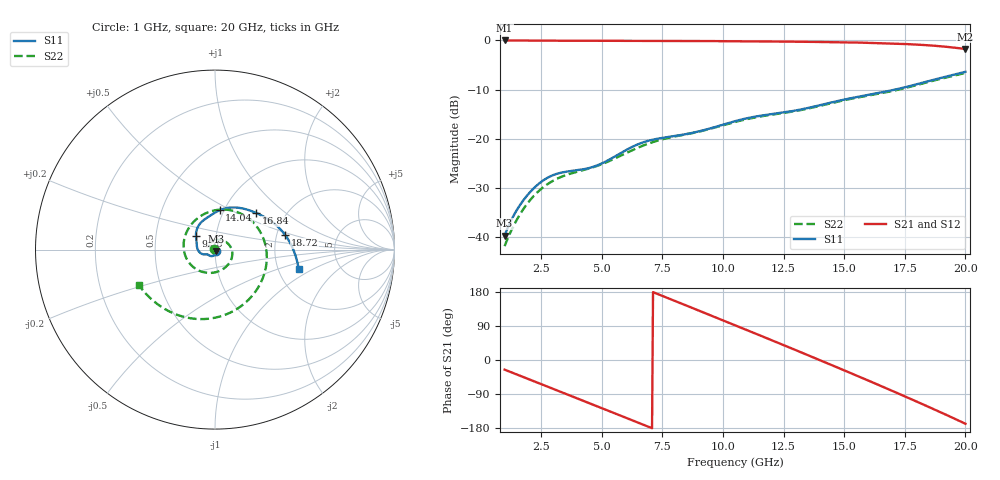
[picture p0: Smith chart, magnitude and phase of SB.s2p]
! Touchstone file from project TestMultiLine
! Exported from HFSS 14.0.0
! Variables:
!  gap = 0mm
!  hair = 35mm
!  hsub = 0.762mm
!  l = 28mm
!  lair = 40mm
!  lmic = 14mm
!  w = 25mm
!  wair = 40mm
!  wmic = 2.1mm
!Data is not renormalized
# GHZ S MA
! Modal data exported
! Port[1] = 1:1
! Port[2] = 2:1
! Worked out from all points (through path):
!   476 points, 1 GHz to 20 GHz, reference per port
!   highest |S21| = -0.02 dB at 1 GHz (marker M1); lowest = -1.8 dB at 20 GHz (marker M2)
!   group delay of S21, straight-line fit = 72.9 ps
!   lowest |S11| = -39.7 dB at 1 GHz (marker M3), VSWR 1.02
!   |S11| at or under -10 dB: start of sweep to 17.1 GHz
!   |S22| runs from -41.8 to -6.6 dB; largest |S21 - S12| = 3.2e-08
!   S11 on the Smith chart (normalised r, x): 1 GHz: 1.01, -0.02; 9.56 GHz: 0.80, +0.12; 14.04 GHz: 0.95, +0.44; 16.84 GHz: 1.42, +0.64; 18.72 GHz: 2.23, +0.43; 20 GHz: 2.59, -0.74
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1  0.01041 -47.4  0.9977 -25.5  0.9977 -25.5  0.008114 174.2
1.64  0.02133 -75.8  0.9953 -41.7  0.9953 -41.7  0.0172 167.5
2.4  0.03478 -103.2  0.9931 -61.0  0.9931 -61.0  0.02934 157.3
3.32  0.04522 -131.5  0.992 -84.2  0.992 -84.2  0.0409 139.3
4.2  0.04875 -146.1  0.992 -106.5  0.992 -106.5  0.04771 112.1
5  0.05609 -151.3  0.9914 -126.9  0.9914 -126.9  0.0551 79.3
5.88  0.07372 -160.0  0.989 -149.4  0.989 -149.4  0.06919 43.7
6.64  0.09073 -173.7  0.9867 -168.8  0.9867 -168.8  0.08395 17.2
7.36  0.1008 172.7  0.9858 172.9  0.9858 172.9  0.09663 -7.1
8.4  0.1106 158.2  0.9853 146.2  0.9853 146.2  0.11 -45.6
9.56  0.1291 145.1  0.9832 116.1  0.9832 116.1  0.1281 -92.5
10.52  0.1514 131.9  0.9785 91.2  0.9785 91.2  0.1486 -129.6
11.96  0.1773 109.7  0.9731 53.6  0.9731 53.6  0.1749 177.1
12.84  0.1908 98.3  0.9702 30.4  0.9702 30.4  0.1885 142.1
13.68  0.2101 88.1  0.9653 8.1  0.9653 8.1  0.207 107.4
14.04  0.2205 83.4  0.9627 -1.5  0.9627 -1.5  0.2171 92.7
15.4  0.262 63.4  0.95 -37.9  0.95 -37.9  0.2582 39.1
16.16  0.2842 52.0  0.9419 -58.7  0.9419 -58.7  0.2796 8.7
16.84  0.3063 42.0  0.9315 -77.4  0.9315 -77.4  0.3007 -19.9
17.76  0.3458 28.2  0.9121 -103.2  0.9121 -103.2  0.3393 -59.0
18.72  0.3993 11.7  0.8816 -130.5  0.8816 -130.5  0.3921 -99.2
20  0.4793 -13.3  0.8167 -168.2  0.8167 -168.2  0.4678 -154.9
